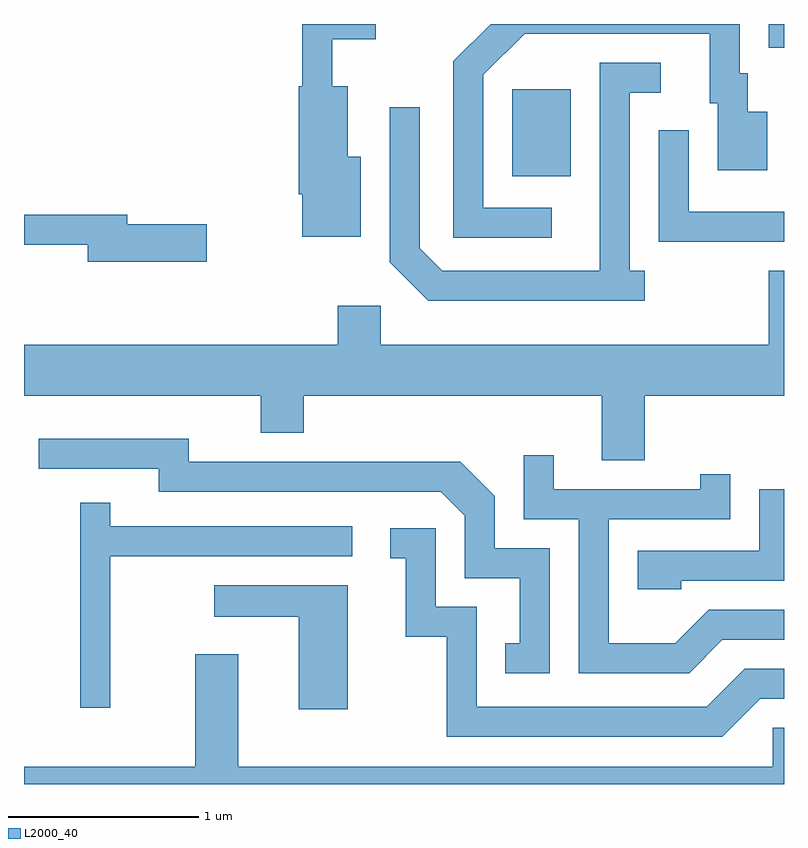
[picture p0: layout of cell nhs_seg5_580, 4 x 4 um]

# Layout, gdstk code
import gdstk
lib = gdstk.Library(unit=1e-6, precision=1e-09)
def R(c, l, rs):  # rectangles x0, y0, x1, y1
    for r in rs: c.add(gdstk.rectangle(r[:2], r[2:], *l))
def P(c, l, *ps):  # polygons
    for p in ps: c.add(gdstk.Polygon(p, *l))
L2000_40 = (2000, 40)

nhs_seg5_580 = lib.new_cell('nhs_seg5_580')
R(nhs_seg5_580, L2000_40, [(204.181,1471.271,204.489,1471.729), (205.531,1471.946,205.611,1472.072)])
P(nhs_seg5_580, L2000_40, [(203.384,1471.374),(203.314,1471.374),(203.314,1471.744),(203.234,1471.744),(203.234,1471.991),(203.463,1471.991),(203.463,1472.072),(203.076,1472.072),(203.076,1471.744),(203.056,1471.744),(203.056,1471.176),(203.076,1471.176),(203.076,1470.951),(203.384,1470.951)],
  [(204.388,1471.104),(204.029,1471.104),(204.029,1471.804),(204.247,1472.021),(205.221,1472.021),(205.221,1471.656),(205.261,1471.656),(205.261,1471.301),(205.524,1471.301),(205.524,1471.609),(205.419,1471.609),(205.419,1471.814),(205.379,1471.814),(205.379,1472.072),(204.067,1472.072),(203.871,1471.877),(203.871,1470.946),(204.388,1470.946)],
  [(204.878,1470.774),(204.799,1470.774),(204.799,1471.711),(204.963,1471.711),(204.963,1471.869),(204.641,1471.869),(204.641,1470.774),(203.812,1470.774),(203.694,1470.892),(203.694,1471.633),(203.536,1471.633),(203.536,1470.819),(203.739,1470.616),(204.878,1470.616)],
  [(205.611,1471.084),(205.109,1471.084),(205.109,1471.513),(204.951,1471.513),(204.951,1470.926),(205.611,1470.926)],
  [(202.574,1471.019),(202.154,1471.019),(202.154,1471.069),(201.611,1471.069),(201.611,1470.911),(201.946,1470.911),(201.946,1470.821),(202.574,1470.821)],
  [(204.879,1470.116),(205.611,1470.116),(205.611,1470.774),(205.531,1470.774),(205.531,1470.384),(203.489,1470.384),(203.489,1470.589),(203.261,1470.589),(203.261,1470.384),(201.611,1470.384),(201.611,1470.116),(202.856,1470.116),(202.856,1469.921),(203.084,1469.921),(203.084,1470.116),(204.651,1470.116),(204.651,1469.776),(204.879,1469.776)],
  [(204.379,1469.314),(204.089,1469.314),(204.089,1469.587),(203.907,1469.769),(202.479,1469.769),(202.479,1469.889),(201.688,1469.889),(201.688,1469.731),(202.321,1469.731),(202.321,1469.611),(203.804,1469.611),(203.931,1469.484),(203.931,1469.156),(204.221,1469.156),(204.221,1468.814),(204.143,1468.814),(204.143,1468.656),(204.379,1468.656)],
  [(205.287,1468.831),(205.611,1468.831),(205.611,1468.989),(205.214,1468.989),(205.039,1468.814),(204.689,1468.814),(204.689,1469.466),(205.329,1469.466),(205.329,1469.703),(205.171,1469.703),(205.171,1469.624),(204.399,1469.624),(204.399,1469.803),(204.241,1469.803),(204.241,1469.466),(204.531,1469.466),(204.531,1468.656),(205.112,1468.656)],
  [(205.069,1469.141),(205.611,1469.141),(205.611,1469.624),(205.481,1469.624),(205.481,1469.299),(204.841,1469.299),(204.841,1469.096),(205.069,1469.096)],
  [(202.064,1469.271),(203.338,1469.271),(203.338,1469.429),(202.064,1469.429),(202.064,1469.553),(201.906,1469.553),(201.906,1468.473),(202.064,1468.473)],
  [(205.487,1468.521),(205.611,1468.521),(205.611,1468.679),(205.404,1468.679),(205.204,1468.479),(203.994,1468.479),(203.994,1469.004),(203.779,1469.004),(203.779,1469.419),(203.538,1469.419),(203.538,1469.261),(203.621,1469.261),(203.621,1468.846),(203.836,1468.846),(203.836,1468.321),(205.287,1468.321)],
  [(203.314,1469.119),(202.613,1469.119),(202.613,1468.951),(203.056,1468.951),(203.056,1468.466),(203.314,1468.466)],
  [(205.611,1468.369),(205.551,1468.369),(205.551,1468.164),(202.739,1468.164),(202.739,1468.754),(202.511,1468.754),(202.511,1468.164),(201.611,1468.164),(201.611,1468.072),(205.611,1468.072)])

lib.write_gds('nhs_seg5_580.gds')
